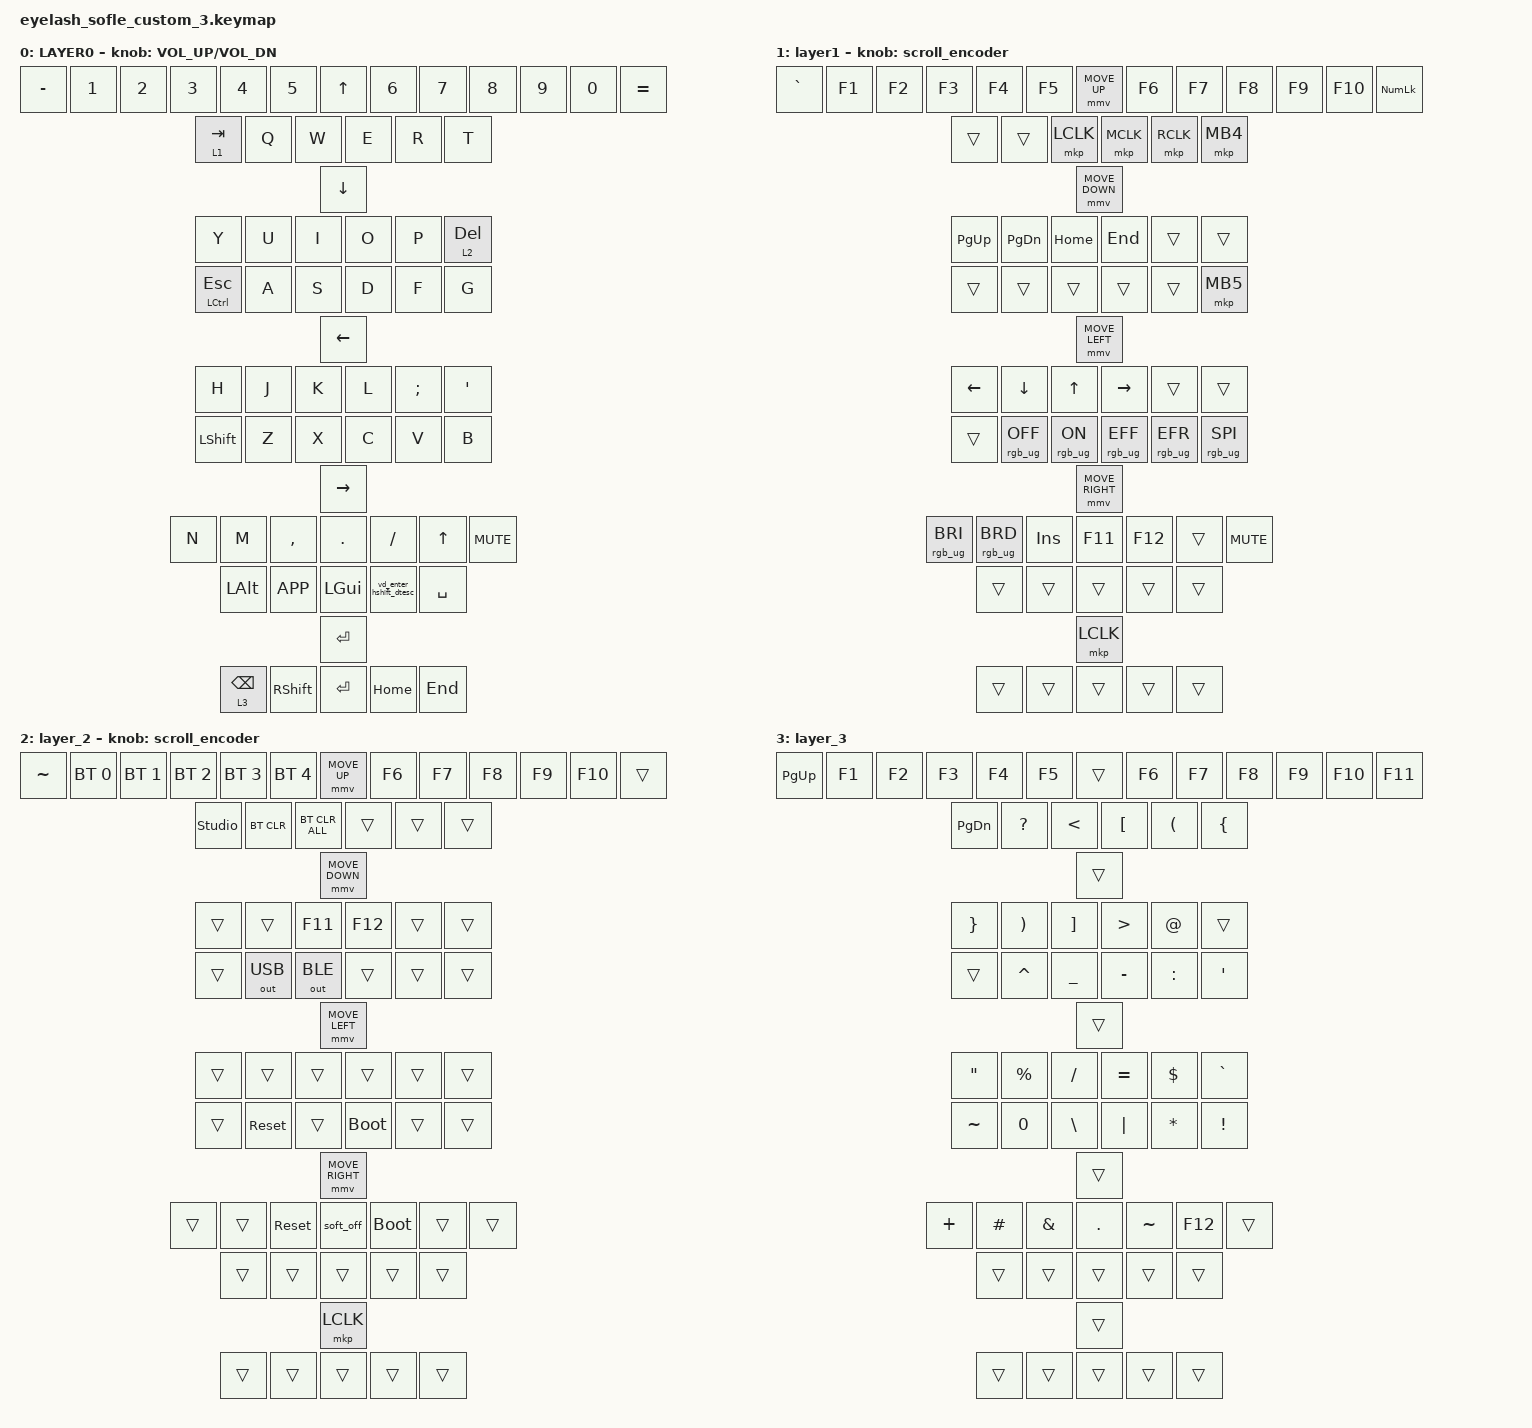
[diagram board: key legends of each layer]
// zmk-keyboard: eyelash_sofle
// variant of config/eyelash_sofle.keymap - written by VileMK
#include <behaviors.dtsi>
#include <dt-bindings/zmk/bt.h>
#include <dt-bindings/zmk/keys.h>
#include <dt-bindings/zmk/mouse.h>
#include <dt-bindings/zmk/outputs.h>
#include <dt-bindings/zmk/rgb.h>

#include <input/processors.dtsi>

/*

   &mmv_input_listener {
       input-processors = <&zip_xy_scaler 2 1>;
   };

   &msc_input_listener {
       input-processors = <&zip_xy_scaler 2 1>;
   };

 */

#define ZMK_MOUSE_DEFAULT_MOVE_VAL 1200  // 600
#define ZMK_MOUSE_DEFAULT_SCRL_VAL 20    // 10


/ {
    behaviors {
        mmv {
            acceleration-exponent = <1>;      // 1
            time-to-max-speed-ms = <900>;    // 40
            delay-ms = <0>;                   // 0
        };

        msc {
            acceleration-exponent = <1>;      // 0
            time-to-max-speed-ms = <400>;      // 500
            delay-ms = <0>;                   //   10
        };
    };

    scroll_encoder: scroll_encoder {
        compatible = "zmk,behavior-sensor-rotate";
        #sensor-binding-cells = <0>;
        bindings = <&msc SCRL_DOWN>, <&msc SCRL_UP>;

        tap-ms = <30>;
    };

    keymap {
        compatible = "zmk,keymap";

        layer0 {
            bindings = <
                &kp MINUS &kp N1 &kp N2 &kp N3 &kp N4 &kp N5 &kp UP_ARROW &kp N6 &kp N7 &kp N8 &kp N9 &kp N0 &kp EQUAL
                &lt 1 TAB              &kp Q &kp W &kp E &kp R    &kp T
                &kp DOWN_ARROW
                &kp Y                  &kp U &kp I &kp O &kp P    &lt 2 DEL
                &ht_esc_ctrl LCTRL ESC &kp A &kp S &kp D &kp F    &kp G
                &kp LEFT_ARROW
                &kp H                  &kp J &kp K &kp L &kp SEMI &kp SQT
                &kp LSHFT              &kp Z &kp X &kp C &kp V    &kp B
                &kp RIGHT_ARROW
                &kp N &kp M &kp COMMA &kp DOT &kp FSLH &kp UP &kp C_MUTE
                &kp LALT   &kp K_APP &kp LGUI &vd_enter_hshift_dtesc &kp SPACE
                &kp ENTER
                &lt 3 BSPC &kp RSHFT &kp RET  &kp HOME               &kp END
            >;

            sensor-bindings = <&inc_dec_kp C_VOLUME_UP C_VOL_DN>;
            display-name = "LAYER0";
        };

        layer_1 {
            bindings = <
                &kp GRAVE &kp F1 &kp F2 &kp F3 &kp F4 &kp F5 &mmv MOVE_UP &kp F6 &kp F7 &kp F8 &kp F9 &kp F10 &kp KP_NUM
                &trans    &trans          &mkp LCLK      &mkp MCLK       &mkp RCLK       &mkp MB4
                &mmv MOVE_DOWN
                &kp PG_UP &kp PG_DN       &kp HOME       &kp END         &trans          &trans
                &trans    &trans          &trans         &trans          &trans          &mkp MB5
                &mmv MOVE_LEFT
                &kp LEFT  &kp DOWN        &kp UP         &kp RIGHT       &trans          &trans
                &trans    &rgb_ug RGB_OFF &rgb_ug RGB_ON &rgb_ug RGB_EFF &rgb_ug RGB_EFR &rgb_ug RGB_SPI
                &mmv MOVE_RIGHT
                &rgb_ug RGB_BRI &rgb_ug RGB_BRD &kp INSERT &kp F11 &kp F12 &trans &kp C_MUTE
                &trans &trans &trans &trans &trans
                &mkp LCLK
                &trans &trans &trans &trans &trans
            >;

            display-name = "layer1";
            sensor-bindings = <&scroll_encoder>;
        };

        layer_2 {
            bindings = <
                &kp TILDE &bt BT_SEL 0 &bt BT_SEL 1 &bt BT_SEL 2 &bt BT_SEL 3 &bt BT_SEL 4 &mmv MOVE_UP &kp F6 &kp F7 &kp F8 &kp F9 &kp F10 &trans
                &studio_unlock &bt BT_CLR   &bt BT_CLR_ALL &trans      &trans &trans
                &mmv MOVE_DOWN
                &trans         &trans       &kp F11        &kp F12     &trans &trans
                &trans         &out OUT_USB &out OUT_BLE   &trans      &trans &trans
                &mmv MOVE_LEFT
                &trans         &trans       &trans         &trans      &trans &trans
                &trans         &sys_reset   &trans         &bootloader &trans &trans
                &mmv MOVE_RIGHT
                &trans &trans &sys_reset &soft_off &bootloader &trans &trans
                &trans &trans &trans &trans &trans
                &mkp LCLK
                &trans &trans &trans &trans &trans
            >;

            sensor-bindings = <&scroll_encoder>;
        };
    
        layer_3 {
            bindings = <
                &kp PG_UP &kp F1 &kp F2 &kp F3 &kp F4 &kp F5 &trans &kp F6 &kp F7 &kp F8 &kp F9 &kp F10 &kp F11
                &kp PG_DN &kp QMARK &kp LT    &kp LBKT  &kp LPAR  &kp LBRC
                &trans
                &kp RBRC  &kp RPAR  &kp RBKT  &kp GT    &kp AT    &trans
                &trans    &kp CARET &kp UNDER &kp MINUS &kp COLON &kp SQT
                &trans
                &kp DQT   &kp PRCNT &kp FSLH  &kp EQUAL &kp DLLR  &kp GRAVE
                &kp TILDE &kp N0    &kp BSLH  &kp PIPE  &kp STAR  &kp EXCL
                &trans
                &kp PLUS &kp HASH &kp AMPS &kp DOT &kp TILDE &kp F12 &trans
                &trans &trans &trans &trans &trans
                &trans
                &trans &trans &trans &trans &trans
            >;
        };
};
};

// BEGIN vilemk custom - generated, edits here are overwritten
// vilemk-records: {"combo":[],"layer":[],"macro":[],"viledance":[{"double_tap":"&kp ESC","flavor":"tap-preferred","hold":"&kp DQT","name":"enter_hshift_dtesc","tap":"&kp RET","tap_hold":"&kp K_APP","tapping_term_ms":200},{"double_tap":"","flavor":"tap-preferred","hold":"&kp LCTRL","name":"esc_ctrl","tap":"&kp ESC","tap_hold":"","tapping_term_ms":200}]}
/ {
    behaviors {
        ht_enter_hshift_dtesc_1: ht_enter_hshift_dtesc_1 {
            compatible = "zmk,behavior-hold-tap";
            #binding-cells = <2>;
            tapping-term-ms = <200>;
            flavor = "tap-preferred";
            bindings = <&kp>, <&kp>;
        };
        ht_enter_hshift_dtesc_2: ht_enter_hshift_dtesc_2 {
            compatible = "zmk,behavior-hold-tap";
            #binding-cells = <2>;
            tapping-term-ms = <200>;
            flavor = "balanced";
            bindings = <&kp>, <&kp>;
        };
        vd_enter_hshift_dtesc: vd_enter_hshift_dtesc {
            compatible = "zmk,behavior-tap-dance";
            #binding-cells = <0>;
            tapping-term-ms = <200>;
            bindings = <&ht_enter_hshift_dtesc_1 DQT RET>, <&ht_enter_hshift_dtesc_2 K_APP ESC>;
        };
        ht_esc_ctrl: ht_esc_ctrl {
            compatible = "zmk,behavior-hold-tap";
            #binding-cells = <2>;
            tapping-term-ms = <200>;
            flavor = "tap-preferred";
            bindings = <&kp>, <&kp>;
        };
    };
};
// END vilemk custom
